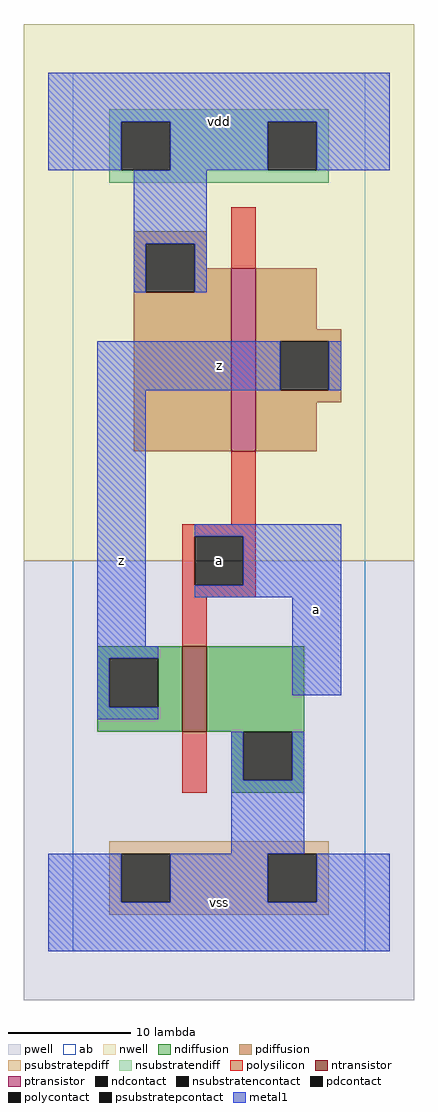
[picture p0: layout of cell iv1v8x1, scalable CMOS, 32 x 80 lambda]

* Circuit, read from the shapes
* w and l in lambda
.subckt iv1v8x1 a vdd vss z
M1 vss a z vss nfet w=7 l=2
M2 z a vdd vdd pfet w=15 l=2
.ends

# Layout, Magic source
magic
tech scmos
<< ab >>
rect 0 0 24 72
<< pwell >>
rect -4 -4 28 32
<< nwell >>
rect -4 32 28 76
<< polysilicon >>
rect 13 56 15 61
rect 13 35 15 41
rect 9 34 15 35
rect 9 30 10 34
rect 14 30 15 34
rect 9 29 15 30
rect 9 25 11 29
rect 9 13 11 18
<< ndiffusion >>
rect 2 24 9 25
rect 2 20 3 24
rect 7 20 9 24
rect 2 18 9 20
rect 11 18 19 25
rect 13 14 14 18
rect 18 14 19 18
rect 13 13 19 14
<< pdiffusion >>
rect 5 58 11 59
rect 5 54 6 58
rect 10 56 11 58
rect 10 54 13 56
rect 5 41 13 54
rect 15 51 20 56
rect 15 50 22 51
rect 15 46 17 50
rect 21 46 22 50
rect 15 45 22 46
rect 15 41 20 45
<< metal1 >>
rect -2 68 26 72
rect -2 64 4 68
rect 8 64 16 68
rect 20 64 26 68
rect 5 58 11 64
rect 5 54 6 58
rect 10 54 11 58
rect 2 46 17 50
rect 21 46 22 50
rect 2 25 6 46
rect 10 34 22 35
rect 14 30 22 34
rect 10 29 22 30
rect 2 24 7 25
rect 2 20 3 24
rect 18 21 22 29
rect 2 19 7 20
rect 13 14 14 18
rect 18 14 19 18
rect 13 8 19 14
rect -2 4 4 8
rect 8 4 16 8
rect 20 4 26 8
rect -2 0 26 4
<< ntransistor >>
rect 9 18 11 25
<< ptransistor >>
rect 13 41 15 56
<< polycontact >>
rect 10 30 14 34
<< ndcontact >>
rect 3 20 7 24
rect 14 14 18 18
<< pdcontact >>
rect 6 54 10 58
rect 17 46 21 50
<< psubstratepcontact >>
rect 4 4 8 8
rect 16 4 20 8
<< nsubstratencontact >>
rect 4 64 8 68
rect 16 64 20 68
<< psubstratepdiff >>
rect 3 8 21 9
rect 3 4 4 8
rect 8 4 16 8
rect 20 4 21 8
rect 3 3 21 4
<< nsubstratendiff >>
rect 3 68 21 69
rect 3 64 4 68
rect 8 64 16 68
rect 20 64 21 68
rect 3 63 21 64
<< labels >>
rlabel metal1 4 32 4 32 6 z
rlabel metal1 12 4 12 4 6 vss
rlabel polycontact 12 32 12 32 6 a
rlabel metal1 12 48 12 48 6 z
rlabel metal1 12 68 12 68 6 vdd
rlabel metal1 20 28 20 28 6 a
<< end >>
